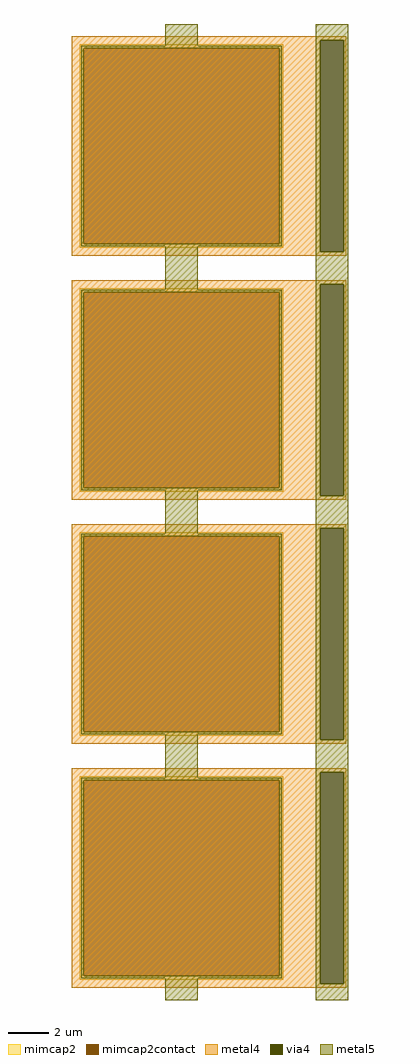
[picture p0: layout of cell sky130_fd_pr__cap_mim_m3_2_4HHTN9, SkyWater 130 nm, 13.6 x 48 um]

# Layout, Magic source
magic
tech sky130A
magscale 1 2
<< metal4 >>
rect -1349 4639 1349 4680
rect -1349 2561 1093 4639
rect 1329 2561 1349 4639
rect -1349 2520 1349 2561
rect -1349 2239 1349 2280
rect -1349 161 1093 2239
rect 1329 161 1349 2239
rect -1349 120 1349 161
rect -1349 -161 1349 -120
rect -1349 -2239 1093 -161
rect 1329 -2239 1349 -161
rect -1349 -2280 1349 -2239
rect -1349 -2561 1349 -2520
rect -1349 -4639 1093 -2561
rect 1329 -4639 1349 -2561
rect -1349 -4680 1349 -4639
<< via4 >>
rect 1093 2561 1329 4639
rect 1093 161 1329 2239
rect 1093 -2239 1329 -161
rect 1093 -4639 1329 -2561
<< mimcap2 >>
rect -1269 4560 731 4600
rect -1269 2640 -1229 4560
rect 691 2640 731 4560
rect -1269 2600 731 2640
rect -1269 2160 731 2200
rect -1269 240 -1229 2160
rect 691 240 731 2160
rect -1269 200 731 240
rect -1269 -240 731 -200
rect -1269 -2160 -1229 -240
rect 691 -2160 731 -240
rect -1269 -2200 731 -2160
rect -1269 -2640 731 -2600
rect -1269 -4560 -1229 -2640
rect 691 -4560 731 -2640
rect -1269 -4600 731 -4560
<< mimcap2contact >>
rect -1229 2640 691 4560
rect -1229 240 691 2160
rect -1229 -2160 691 -240
rect -1229 -4560 691 -2640
<< metal5 >>
rect -429 4584 -109 4800
rect 1051 4639 1371 4800
rect -1253 4560 715 4584
rect -1253 2640 -1229 4560
rect 691 2640 715 4560
rect -1253 2616 715 2640
rect -429 2184 -109 2616
rect 1051 2561 1093 4639
rect 1329 2561 1371 4639
rect 1051 2239 1371 2561
rect -1253 2160 715 2184
rect -1253 240 -1229 2160
rect 691 240 715 2160
rect -1253 216 715 240
rect -429 -216 -109 216
rect 1051 161 1093 2239
rect 1329 161 1371 2239
rect 1051 -161 1371 161
rect -1253 -240 715 -216
rect -1253 -2160 -1229 -240
rect 691 -2160 715 -240
rect -1253 -2184 715 -2160
rect -429 -2616 -109 -2184
rect 1051 -2239 1093 -161
rect 1329 -2239 1371 -161
rect 1051 -2561 1371 -2239
rect -1253 -2640 715 -2616
rect -1253 -4560 -1229 -2640
rect 691 -4560 715 -2640
rect -1253 -4584 715 -4560
rect -429 -4800 -109 -4584
rect 1051 -4639 1093 -2561
rect 1329 -4639 1371 -2561
rect 1051 -4800 1371 -4639
<< properties >>
string FIXED_BBOX -1349 2520 811 4680
string gencell sky130_fd_pr__cap_mim_m3_2
string library sky130
string parameters w 10.0 l 10.0 val 207.6 carea 2.00 cperi 0.19 nx 1 ny 4 dummy 0 square 0 lmin 2.00 wmin 2.00 lmax 30.0 wmax 30.0 dc 0 bconnect 1 tconnect 1 ccov 100
<< end >>
